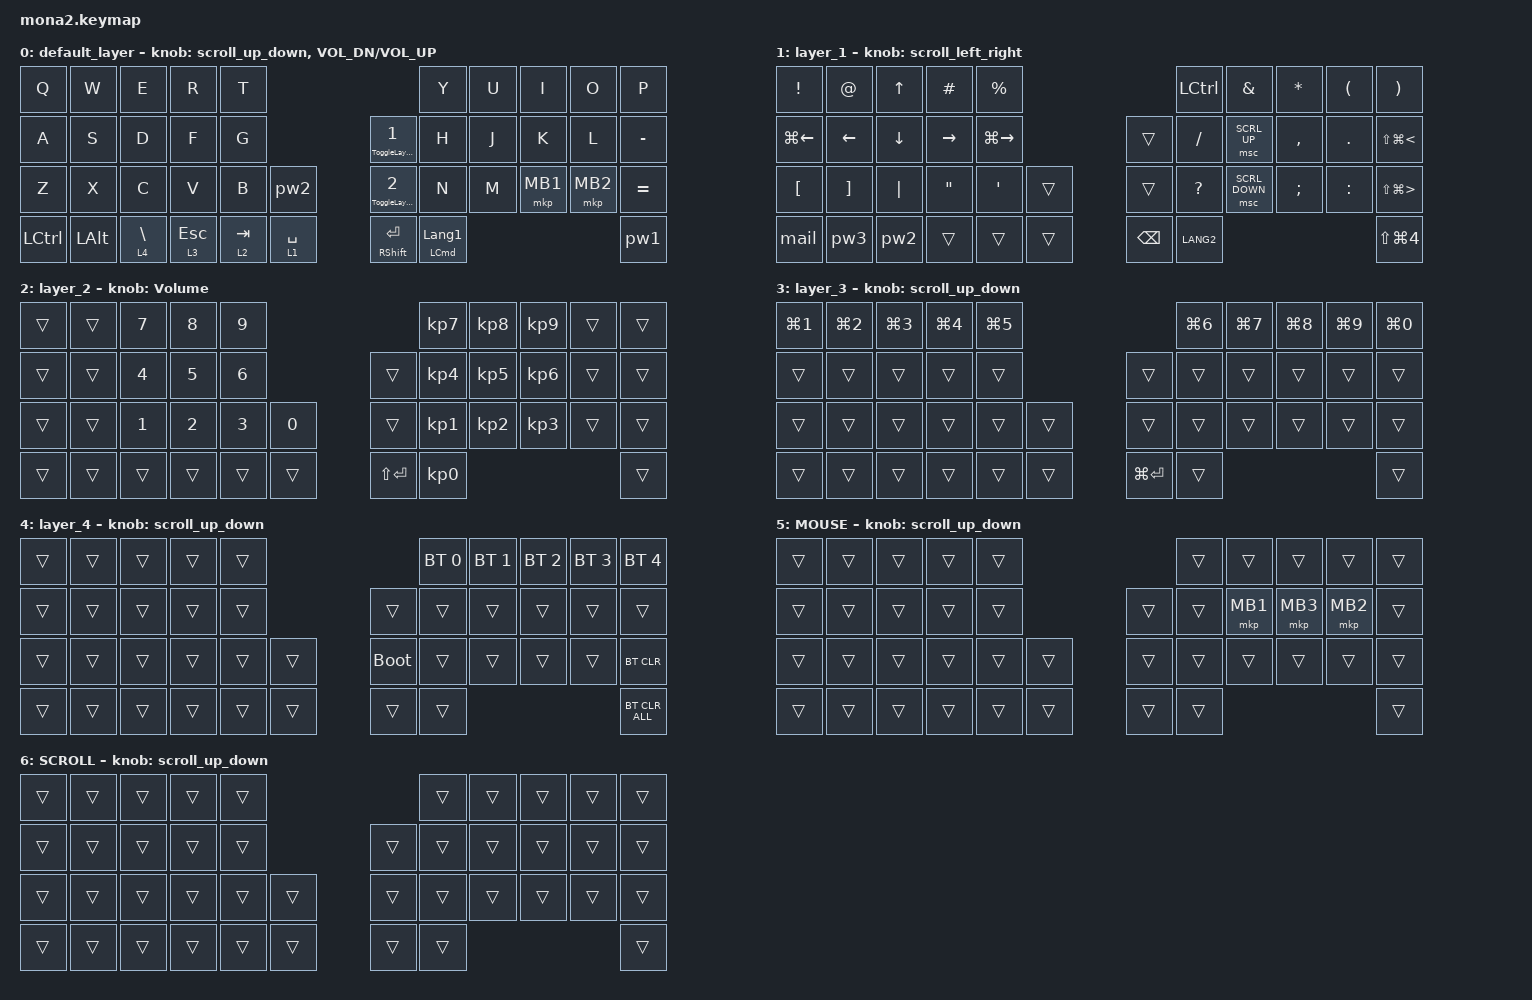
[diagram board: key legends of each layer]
#include <behaviors.dtsi>
#include <dt-bindings/zmk/bt.h>
#include <dt-bindings/zmk/keys.h>
#include <dt-bindings/zmk/pointing.h>

#define ZMK_POINTING_DEFAULT_SCRL_VAL 100
#define MOUSE 5
#define SCROLL 6

&mt {
    flavor = "balanced";
    quick-tap-ms = <0>;
    tapping-term-ms = <150>;
};

/ {
    combos { compatible = "zmk,combos"; };

    macros {
        pw1: pw1 {
            compatible = "zmk,behavior-macro";
            #binding-cells = <0>;
            bindings = <&kp LS(A) &kp U &kp R &kp O &kp R &kp A &kp NUMBER_1 &kp NUMBER_3 &kp NUMBER_2 &kp NUMBER_9>;
            label = "PW1";
        };

        pw2: pw2 {
            compatible = "zmk,behavior-macro";
            #binding-cells = <0>;
            bindings = <&kp LS(R) &kp A &kp D &kp W &kp I &kp M &kp P &kp S &kp N0 &kp NUMBER_3 &kp NUMBER_1 &kp NUMBER_3 &kp NUMBER_2 &kp NUMBER_9 &kp EXCLAMATION>;
            label = "PW2";
        };

        pw3: pw3 {
            compatible = "zmk,behavior-macro";
            #binding-cells = <0>;
            bindings = <&kp LS(Q) &kp U &kp A &kp R &kp T &kp E &kp T &kp T &kp O &kp NUMBER_0 &kp NUMBER_3 &kp NUMBER_1 &kp NUMBER_3 &kp EXCLAMATION>;
            label = "PW3";
        };

        mail: mail {
            compatible = "zmk,behavior-macro";
            #binding-cells = <0>;
            bindings = <&kp K &kp E &kp I &kp T &kp A &kp PERIOD &kp M &kp A &kp T &kp S &kp U &kp M &kp U &kp R &kp A &kp AT_SIGN &kp V &kp O &kp MINUS &kp J &kp P &kp N &kp PERIOD &kp C &kp O &kp M>;
            label = "MAIL";
        };
    };

    behaviors {
        scroll_up_down: behavior_sensor_rotate_mouse_wheel_up_down {
            compatible = "zmk,behavior-sensor-rotate";
            #sensor-binding-cells = <0>;
            bindings = <&msc SCRL_UP>, <&msc SCRL_DOWN>;

            tap-ms = <20>;
        };

        Volume: new_behavior {
            compatible = "zmk,behavior-sensor-rotate";
            label = "NEW_BEHAVIOR";
            #sensor-binding-cells = <0>;
            bindings = <&kp C_VOLUME_DOWN>, <&kp C_VOLUME_UP>;
        };

        scroll_left_right: behavior_sensor_rotate_mouse_wh {
            compatible = "zmk,behavior-sensor-rotate";
            #sensor-binding-cells = <0>;
            bindings = <&msc SCRL_RIGHT>, <&msc SCRL_LEFT>;

            tap-ms = <20>;
            label = "scroLL_left_right";
        };

        ToggleLayer_behavior: ToggleLayer_behavior {
            compatible = "zmk,behavior-toggle-layer";
            label = "TOGGLELAYER_BEHAVIOR";
            #binding-cells = <1>;
            toggle-mode = "flip";
        };
    };

    keymap {
        compatible = "zmk,keymap";

        default_layer {
            bindings = <
&kp Q      &kp W         &kp E            &kp R         &kp T                                              &kp Y                        &kp U  &kp I     &kp O     &kp P
&kp A      &kp S         &kp D            &kp F         &kp G                     &ToggleLayer_behavior 1  &kp H                        &kp J  &kp K     &kp L     &kp MINUS
&kp Z      &kp X         &kp C            &kp V         &kp B      &pw2           &ToggleLayer_behavior 2  &kp N                        &kp M  &mkp MB1  &mkp MB2  &kp EQUAL
&kp LCTRL  &kp LEFT_ALT  &lt 4 BACKSLASH  &lt 3 ESCAPE  &lt 2 TAB  &lt 1 SPACE    &mt RIGHT_SHIFT ENTER    &mt LEFT_COMMAND LANGUAGE_1                             &pw1
            >;

            sensor-bindings =
                <&scroll_up_down>,
                <&inc_dec_kp C_VOL_DN C_VOL_UP>;
        };

        layer_1 {
            bindings = <
&kp EXCLAMATION     &kp AT             &kp UP_ARROW    &kp HASH           &kp PERCENT                                   &kp LCTRL     &kp AMPERSAND   &kp ASTERISK   &kp LEFT_PARENTHESIS  &kp RIGHT_PARENTHESIS
&kp LG(LEFT_ARROW)  &kp LEFT_ARROW     &kp DOWN_ARROW  &kp RIGHT_ARROW    &kp LG(RIGHT_ARROW)            &trans         &kp SLASH     &msc SCRL_UP    &kp COMMA      &kp PERIOD            &kp LS(LG(LESS_THAN))
&kp LEFT_BRACKET    &kp RIGHT_BRACKET  &kp PIPE        &kp DOUBLE_QUOTES  &kp SQT              &trans    &trans         &kp QUESTION  &msc SCRL_DOWN  &kp SEMICOLON  &kp COLON             &kp LS(LG(GREATER_THAN))
&mail               &pw3               &pw2            &trans             &trans               &trans    &kp BACKSPACE  &kp LANG2                                                          &kp LS(LG(NUMBER_4))
            >;

            sensor-bindings = <&scroll_left_right>;
        };

        layer_2 {
            bindings = <
&trans  &trans  &kp NUMBER_7  &kp NUMBER_8  &kp NUMBER_9                                 &kp KP_NUMBER_7  &kp KP_NUMBER_8  &kp KP_NUMBER_9  &trans  &trans
&trans  &trans  &kp NUMBER_4  &kp NUMBER_5  &kp NUMBER_6                  &trans         &kp KP_NUMBER_4  &kp KP_NUMBER_5  &kp KP_NUMBER_6  &trans  &trans
&trans  &trans  &kp NUMBER_1  &kp NUMBER_2  &kp NUMBER_3  &kp NUMBER_0    &trans         &kp KP_NUMBER_1  &kp KP_NUMBER_2  &kp KP_NUMBER_3  &trans  &trans
&trans  &trans  &trans        &trans        &trans        &trans          &kp LS(ENTER)  &kp KP_NUMBER_0                                            &trans
            >;

            sensor-bindings = <&Volume>;
        };

        layer_3 {
            bindings = <
&kp LG(NUMBER_1)  &kp LG(NUMBER_2)  &kp LG(NUMBER_3)  &kp LG(NUMBER_4)  &kp LG(NUMBER_5)                           &kp LG(NUMBER_6)  &kp LG(NUMBER_7)  &kp LG(NUMBER_8)  &kp LG(NUMBER_9)  &kp LG(NUMBER_0)
&trans            &trans            &trans            &trans            &trans                      &trans         &trans            &trans            &trans            &trans            &trans
&trans            &trans            &trans            &trans            &trans            &trans    &trans         &trans            &trans            &trans            &trans            &trans
&trans            &trans            &trans            &trans            &trans            &trans    &kp LG(ENTER)  &trans                                                                  &trans
            >;

            sensor-bindings = <&scroll_up_down>;
        };

        layer_4 {
            bindings = <
&trans  &trans  &trans  &trans  &trans                         &bt BT_SEL 0  &bt BT_SEL 1  &bt BT_SEL 2  &bt BT_SEL 3  &bt BT_SEL 4
&trans  &trans  &trans  &trans  &trans            &trans       &trans        &trans        &trans        &trans        &trans
&trans  &trans  &trans  &trans  &trans  &trans    &bootloader  &trans        &trans        &trans        &trans        &bt BT_CLR
&trans  &trans  &trans  &trans  &trans  &trans    &trans       &trans                                                  &bt BT_CLR_ALL
            >;

            sensor-bindings = <&scroll_up_down>;
        };

        MOUSE {
            bindings = <
&trans  &trans  &trans  &trans  &trans                    &trans  &trans    &trans    &trans    &trans
&trans  &trans  &trans  &trans  &trans            &trans  &trans  &mkp MB1  &mkp MB3  &mkp MB2  &trans
&trans  &trans  &trans  &trans  &trans  &trans    &trans  &trans  &trans    &trans    &trans    &trans
&trans  &trans  &trans  &trans  &trans  &trans    &trans  &trans                                &trans
            >;

            sensor-bindings = <&scroll_up_down>;
        };

        SCROLL {
            bindings = <
&trans  &trans  &trans  &trans  &trans                    &trans  &trans  &trans  &trans  &trans
&trans  &trans  &trans  &trans  &trans            &trans  &trans  &trans  &trans  &trans  &trans
&trans  &trans  &trans  &trans  &trans  &trans    &trans  &trans  &trans  &trans  &trans  &trans
&trans  &trans  &trans  &trans  &trans  &trans    &trans  &trans                          &trans
            >;

            sensor-bindings = <&scroll_up_down>;
        };
    };
};
